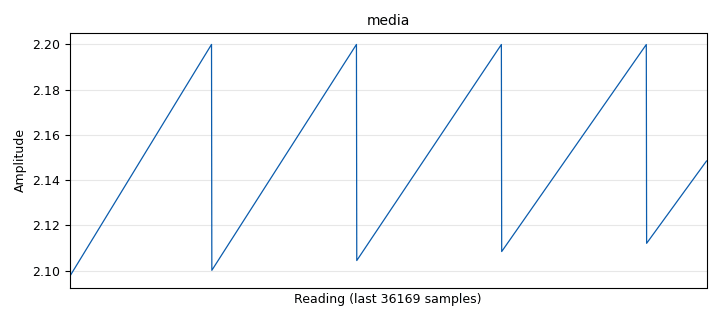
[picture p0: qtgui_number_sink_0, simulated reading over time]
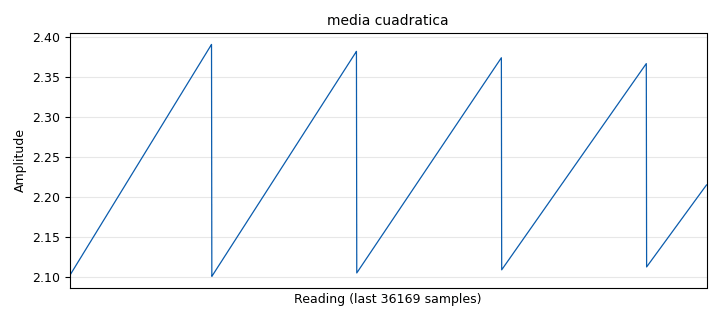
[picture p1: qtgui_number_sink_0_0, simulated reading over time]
options:
  parameters:
    generate_options: qt_gui
    id: practica1
    output_language: python
    title: Not titled yet
  states: {}

blocks:
- name: samp_rate
  id: variable
  parameters:
    value: '32000'
  states: {}
- name: blocks_vector_source_x_0
  id: blocks_vector_source_x
  parameters:
    repeat: 'True'
    type: float
    vector: (1, 2, 1,3,4)
  states: {}
- name: epy_block_0
  id: epy_block
  parameters:
    _source_code: |
      import numpy as np
      from gnuradio import gr
      class blk (gr. sync_block ):
          def __init__ ( self ) : # only default arguments here
              gr. sync_block . __init__ (
              self ,
              name ="Promedios_de_tiempos ", # will show up in GRC
              in_sig =[ np. float32 ],
              out_sig =[ np. float32 ,np. float32 ,np. float32 ,np. float32 ,np. float32 ]
              )
              self . acum_anterior = 0
              self . Ntotales = 0
              self . acum_anterior1 = 0
              self . acum_anterior2 = 0
          def work (self , input_items , output_items ):
              x = input_items [0] # Senial de entrada .
              y0 = output_items [0] # Promedio de la senial
              y1 = output_items [1] # Media de la senial
              y2 = output_items [2] # RMS de la senial
              y3 = output_items [3] # Potencia promedio de la senial
              y4 = output_items [4] # Desviacion estandar de la senial
              # Calculo del promedio
              N = len (x)
              self . Ntotales = self . Ntotales + N
              acumulado = self . acum_anterior + np. cumsum (x)
              self . acum_anterior = acumulado [N -1]
              y0 [:]= acumulado / self . Ntotales
              # Calculo de la media cuadratica
              x2=np. multiply (x,x)
              acumulado1 = self . acum_anterior1 + np. cumsum (x2)
              self . acum_anterior1 = acumulado [N -1]
              y1 [:] = acumulado1 / self . Ntotales
              # Calculo de la RMS
              y2 [:] = np. sqrt (y1)
              # Calculo de la potencia promedio
              y3 [:] = N
              # Calculo de la desviacion estandar
              x3 = np. multiply (x-y0 ,x-y0)
              acumulado2 = self . acum_anterior2 + np. cumsum (x3)
              self . acum_anterior2 = acumulado2 [N -1]
              y4 [:] = np. sqrt ( acumulado2 / self . Ntotales )
              return len (x)
  states: {}
- name: qtgui_number_sink_0
  id: qtgui_number_sink
  parameters:
    graph_type: qtgui.NUM_GRAPH_HORIZ
    name: media
    type: float
  states: {}
- name: qtgui_number_sink_0_0
  id: qtgui_number_sink
  parameters:
    graph_type: qtgui.NUM_GRAPH_HORIZ
    name: media cuadratica
    type: float
  states: {}
- name: qtgui_number_sink_0_1
  id: qtgui_number_sink
  parameters:
    graph_type: qtgui.NUM_GRAPH_HORIZ
    name: RMS
    type: float
  states: {}
- name: qtgui_number_sink_0_2
  id: qtgui_number_sink
  parameters:
    graph_type: qtgui.NUM_GRAPH_HORIZ
    name: N
    type: float
  states: {}
- name: qtgui_number_sink_0_3
  id: qtgui_number_sink
  parameters:
    graph_type: qtgui.NUM_GRAPH_HORIZ
    name: desviacion estandar
    type: float
  states: {}

connections:
- [blocks_vector_source_x_0, '0', epy_block_0, '0']
- [epy_block_0, '0', qtgui_number_sink_0, '0']
- [epy_block_0, '1', qtgui_number_sink_0_0, '0']
- [epy_block_0, '2', qtgui_number_sink_0_1, '0']
- [epy_block_0, '3', qtgui_number_sink_0_2, '0']
- [epy_block_0, '4', qtgui_number_sink_0_3, '0']

metadata:
  file_format: 1
  grc_version: v3.10.11.0-89-ga17f69e7
